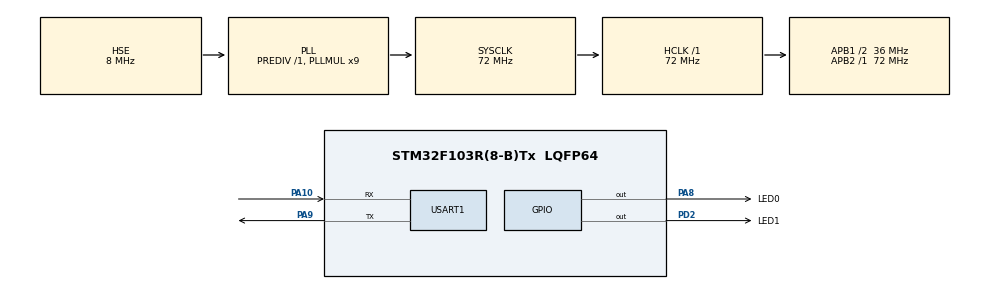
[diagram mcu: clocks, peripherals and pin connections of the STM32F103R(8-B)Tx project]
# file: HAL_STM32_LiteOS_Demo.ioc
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Mcu.Family=STM32F1
Mcu.Name=STM32F103R(8-B)Tx
Mcu.Package=LQFP64
NVIC.PriorityGroup=NVIC_PRIORITYGROUP_4
NVIC.TIM4_IRQn=true\:0\:0\:false\:false\:true\:false\:true
NVIC.TimeBase=TIM4_IRQn
NVIC.TimeBaseIP=TIM4
PA10.GPIO_PuPd=GPIO_PULLUP
PA10.Mode=Asynchronous
PA10.Signal=USART1_RX
PA13.Mode=Serial_Wire
PA13.Signal=SYS_JTMS-SWDIO
PA14.Mode=Serial_Wire
PA14.Signal=SYS_JTCK-SWCLK
PA8.GPIO_Label=LED0
PA8.GPIO_Speed=GPIO_SPEED_FREQ_HIGH
PA8.PinState=GPIO_PIN_SET
PA8.Signal=GPIO_Output
PA9.Mode=Asynchronous
PA9.Signal=USART1_TX
PD0-OSC_IN.Mode=HSE-External-Oscillator
PD0-OSC_IN.Signal=RCC_OSC_IN
PD1-OSC_OUT.Mode=HSE-External-Oscillator
PD1-OSC_OUT.Signal=RCC_OSC_OUT
PD2.GPIO_Label=LED1
PD2.GPIO_Speed=GPIO_SPEED_FREQ_HIGH
PD2.PinState=GPIO_PIN_SET
PD2.Signal=GPIO_Output
ProjectManager.HeapSize=0x200
ProjectManager.StackSize=0x400
ProjectManager.TargetToolchain=MDK-ARM V5
RCC.AHBFreq_Value=72000000
RCC.APB1CLKDivider=RCC_HCLK_DIV2
RCC.APB1Freq_Value=36000000
RCC.APB1TimFreq_Value=72000000
RCC.APB2Freq_Value=72000000
RCC.APB2TimFreq_Value=72000000
RCC.HCLKFreq_Value=72000000
RCC.PLLMUL=RCC_PLL_MUL9
RCC.PLLSourceVirtual=RCC_PLLSOURCE_HSE
RCC.SYSCLKFreq_VALUE=72000000
RCC.SYSCLKSource=RCC_SYSCLKSOURCE_PLLCLK
RCC.USBFreq_Value=72000000
USART1.VirtualMode=VM_ASYNC
VP_SYS_VS_tim4.Mode=TIM4
board=custom

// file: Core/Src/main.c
/* USER CODE BEGIN Header */
/**
  ******************************************************************************
  * @file           : main.c
  * @brief          : Main program body
  ******************************************************************************
  * @attention
  *
  * <h2><center>&copy; Copyright (c) 2021 STMicroelectronics.
  * All rights reserved.</center></h2>
  *
  * This software component is licensed by ST under BSD 3-Clause license,
  * the "License"; You may not use this file except in compliance with the
  * License. You may obtain a copy of the License at:
  *                        opensource.org/licenses/BSD-3-Clause
  *
  ******************************************************************************
  */
/* USER CODE END Header */
#include "main.h"
#include "usart.h"
#include "gpio.h"

/* USER CODE BEGIN Includes */
#include "cmsis_os.h"
/* USER CODE END Includes */

void SystemClock_Config(void);

/* USER CODE BEGIN 0 */

osThreadId_t LED0TaskHandle;
const osThreadAttr_t LED0Task_attributes = {
  .name = "led0task",
  .priority = (osPriority_t) osPriorityNormal,
  .stack_size = 128 * 4
};
void LED0TaskEntry(void* arg);

osThreadId_t LED1TaskHandle;
const osThreadAttr_t LED1Task_attributes = {
  .name = "led1task",
  .priority = (osPriority_t) osPriorityNormal,
  .stack_size = 128 * 4
};
void LED1TaskEntry(void* arg);

int main(void)
{
	HAL_Init();
	SystemClock_Config();
	MX_GPIO_Init();
	MX_USART1_UART_Init();

	// 初始化内核
	osKernelInitialize();

	// 创建LED0任务
	LED0TaskHandle = osThreadNew(LED0TaskEntry, NULL, &LED0Task_attributes);

	// 创建LED1任务
	LED1TaskHandle = osThreadNew(LED1TaskEntry, NULL, &LED1Task_attributes);

	// 启动内核调度
	osKernelStart();

	while (1)
	{
	}
}

void LED0TaskEntry(void* arg)
{
	for(;;)
	{
		HAL_GPIO_TogglePin(LED0_GPIO_Port, LED0_Pin);
		osDelay(300);
	}
}

void LED1TaskEntry(void* arg)
{
	for(;;)
	{
		HAL_GPIO_TogglePin(LED1_GPIO_Port, LED1_Pin);
		osDelay(1000);
	}
}

/* USER CODE END 0 */

int main2(void)
{

  /* MCU Configuration--------------------------------------------------------*/

  /* Reset of all peripherals, Initializes the Flash interface and the Systick. */
  HAL_Init();

  /* Configure the system clock */
  SystemClock_Config();

  /* Initialize all configured peripherals */
  MX_GPIO_Init();
  MX_USART1_UART_Init();

  /* Infinite loop */
  while (1)
  {

  }
}

void SystemClock_Config(void)
{
  RCC_OscInitTypeDef RCC_OscInitStruct = {0};
  RCC_ClkInitTypeDef RCC_ClkInitStruct = {0};

  /** Initializes the RCC Oscillators according to the specified parameters
  * in the RCC_OscInitTypeDef structure.
  */
  RCC_OscInitStruct.OscillatorType = RCC_OSCILLATORTYPE_HSE;
  RCC_OscInitStruct.HSEState = RCC_HSE_ON;
  RCC_OscInitStruct.HSEPredivValue = RCC_HSE_PREDIV_DIV1;
  RCC_OscInitStruct.HSIState = RCC_HSI_ON;
  RCC_OscInitStruct.PLL.PLLState = RCC_PLL_ON;
  RCC_OscInitStruct.PLL.PLLSource = RCC_PLLSOURCE_HSE;
  RCC_OscInitStruct.PLL.PLLMUL = RCC_PLL_MUL9;
  if (HAL_RCC_OscConfig(&RCC_OscInitStruct) != HAL_OK)
  {
    Error_Handler();
  }
  /** Initializes the CPU, AHB and APB buses clocks
  */
  RCC_ClkInitStruct.ClockType = RCC_CLOCKTYPE_HCLK|RCC_CLOCKTYPE_SYSCLK
                              |RCC_CLOCKTYPE_PCLK1|RCC_CLOCKTYPE_PCLK2;
  RCC_ClkInitStruct.SYSCLKSource = RCC_SYSCLKSOURCE_PLLCLK;
  RCC_ClkInitStruct.AHBCLKDivider = RCC_SYSCLK_DIV1;
  RCC_ClkInitStruct.APB1CLKDivider = RCC_HCLK_DIV2;
  RCC_ClkInitStruct.APB2CLKDivider = RCC_HCLK_DIV1;

  if (HAL_RCC_ClockConfig(&RCC_ClkInitStruct, FLASH_LATENCY_2) != HAL_OK)
  {
    Error_Handler();
  }
}

 /**
  * @brief  Period elapsed callback in non blocking mode
  * @note   This function is called  when TIM4 interrupt took place, inside
  * HAL_TIM_IRQHandler(). It makes a direct call to HAL_IncTick() to increment
  * a global variable "uwTick" used as application time base.
  * @param  htim : TIM handle
  * @retval None
  */
void HAL_TIM_PeriodElapsedCallback(TIM_HandleTypeDef *htim)
{
  if (htim->Instance == TIM4) {
    HAL_IncTick();
  }
}

void Error_Handler(void)
{
  __disable_irq();
  while (1)
  {
  }
}

/************************ (C) COPYRIGHT STMicroelectronics *****END OF FILE****/
